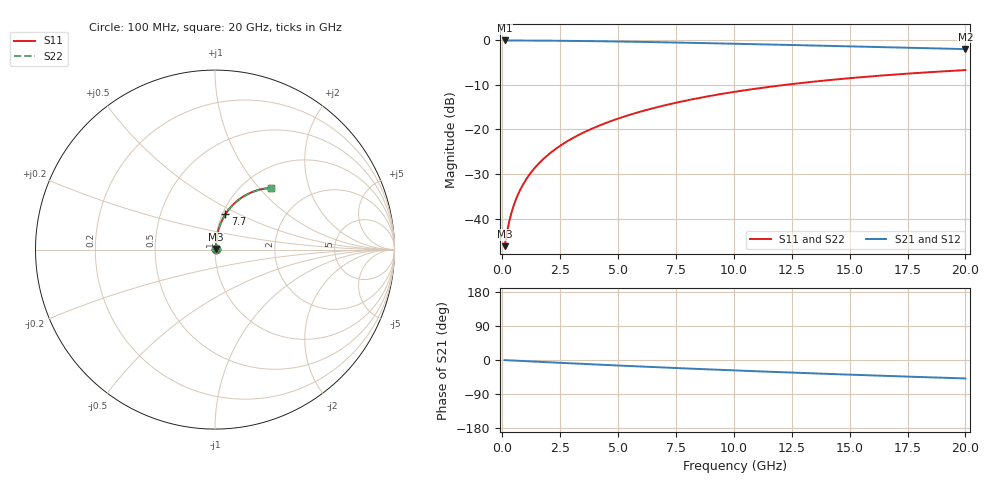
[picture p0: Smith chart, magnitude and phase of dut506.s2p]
! Touchstone file exported from HFSS 2024.1.0
!  File:  C:/UserFiles/LocalFiles/RDL_TSV_Batchsim/temp_RDL_top_506_1779679254.aedt
!  Generated:  11:23:12 AM May 25, 2026
!  Design:  RDL_top
!  Project:  temp_RDL_top_506_1779679254
!  Setup:  Setup1
!  Solution:  Sweep
! Variables:
!  dtsv = 10.80580581um
!  hbump = 3um
!  htsv = 55.69um
!  ldown = 100um
!  lrdl = 670.83um
!  p = 40
!  p1 = 53.28um
!  rhole = 1um
!  t = 450um
!  tdown = 3.915915916um
!  trdl = 3.26um
!  wdown = 15.38538539um
!  wrdl = 18.76um
# GHz S MA R 50.000000
! Terminal data exported
! Port[1] = Box2_T1
! Port[2] = Box2_T2
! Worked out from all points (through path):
!   200 points, 100 MHz to 20 GHz, reference 50 ohm
!   highest |S21| = -0.04 dB at 100 MHz (marker M1); lowest = -2.0 dB at 20 GHz (marker M2)
!   group delay of S21, straight-line fit = 6.73 ps
!   lowest |S11| = -46.2 dB at 100 MHz (marker M3), VSWR 1.01, Z = 50.4 + j0.283 ohm
!   |S11| at or under -10 dB: start of sweep to 12.21 GHz
!   |S22| runs from -46.2 to -6.7 dB; largest |S21 - S12| = 1.4e-14
!   S11 on the Smith chart (normalised r, x): 100 MHz: 1.01, +0.01; 7.7 GHz: 1.03, +0.42; 20 GHz: 1.32, +1.16
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0.1  0.004918 34.8  0.996 -0.3  0.996 -0.3  0.004918 34.8
! Gamma 0 0 0 0
! Port Impedance 50 0 50 0
0.2  0.006953 53.0  0.9958 -0.6  0.9958 -0.6  0.006953 53.0
0.3  0.009317 62.0  0.9956 -0.9  0.9956 -0.9  0.009318 62.0
0.4  0.01177 67.2  0.9954 -1.2  0.9954 -1.2  0.01177 67.2
0.5  0.01424 70.6  0.9951 -1.5  0.9951 -1.5  0.01424 70.5
0.6  0.01673 72.9  0.9949 -1.8  0.9949 -1.8  0.01673 72.9
0.8  0.02175 76.1  0.9945 -2.4  0.9945 -2.4  0.02175 76.1
1.1  0.02935 78.7  0.9937 -3.3  0.9937 -3.3  0.02935 78.7
1.3  0.03447 79.8  0.9931 -3.9  0.9931 -3.9  0.03447 79.7
1.6  0.0422 80.7  0.9921 -4.8  0.9921 -4.8  0.0422 80.7
2.1  0.0552 81.5  0.99 -6.3  0.99 -6.3  0.0552 81.4
2.7  0.07096 81.5  0.9868 -8.0  0.9868 -8.0  0.07095 81.5
3.5  0.0922 81.0  0.9816 -10.3  0.9816 -10.3  0.09217 80.9
4.2  0.1109 80.2  0.9763 -12.3  0.9763 -12.3  0.1109 80.1
5  0.1325 78.9  0.9694 -14.5  0.9694 -14.5  0.1324 78.9
5.9  0.1567 77.3  0.9609 -17.0  0.9609 -17.0  0.1566 77.3
6.8  0.1809 75.6  0.9516 -19.4  0.9516 -19.4  0.1807 75.5
7.7  0.2048 73.7  0.9419 -21.7  0.9419 -21.7  0.2046 73.6
10.1  0.2661 68.4  0.9143 -27.6  0.9143 -27.6  0.2658 68.3
13.4  0.3427 61.2  0.8746 -35.2  0.8746 -35.2  0.3423 61.1
16.7  0.4085 54.3  0.835 -42.2  0.835 -42.2  0.4079 54.2
20  0.4635 47.9  0.7968 -48.7  0.7968 -48.7  0.4627 47.8
